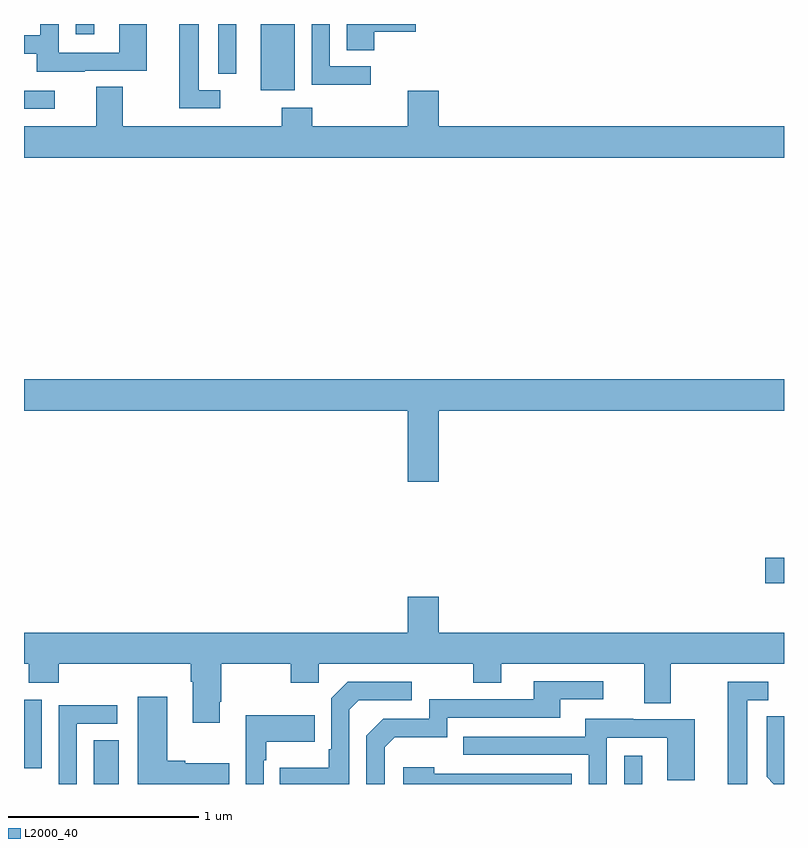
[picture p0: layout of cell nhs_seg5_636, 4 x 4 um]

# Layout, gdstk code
import gdstk
lib = gdstk.Library(unit=1e-6, precision=1e-09)
def R(c, l, rs):  # rectangles x0, y0, x1, y1
    for r in rs: c.add(gdstk.rectangle(r[:2], r[2:], *l))
def P(c, l, *ps):  # polygons
    for p in ps: c.add(gdstk.Polygon(p, *l))
L2000_40 = (2000, 40)

nhs_seg5_636 = lib.new_cell('nhs_seg5_636')
R(nhs_seg5_636, L2000_40, [(151.367,850.799,151.498,851.03), (154.158,850.799,154.255,850.948), (151,850.881,151.093,851.242), (154.902,851.855,155,851.99), (151,854.352,151.162,854.448), (152.246,854.45,152.425,854.799), (151.272,854.745,151.369,854.799)])
P(nhs_seg5_636, L2000_40, [(152.824,854.577),(152.61,854.577),(152.61,854.799),(152.514,854.799),(152.514,854.479),(152.824,854.479)],
  [(152.118,854.69),(152.117,854.69),(152.117,854.799),(152.022,854.799),(152.022,854.536),(152.118,854.536)],
  [(151.321,854.553),(151.645,854.553),(151.645,854.799),(151.5,854.799),(151.5,854.649),(151.182,854.649),(151.182,854.799),(151.086,854.799),(151.086,854.739),(151,854.739),(151,854.643),(151.067,854.643),(151.067,854.549),(151.321,854.549)],
  [(152.032,854.451),(151.921,854.451),(151.921,854.799),(151.817,854.799),(151.817,854.355),(152.032,854.355)],
  [(152.843,854.758),(153.061,854.758),(153.061,854.799),(152.699,854.799),(152.699,854.662),(152.843,854.662)],
  [(153.02,854.449),(153.02,854.26),(152.516,854.26),(152.516,854.359),(152.356,854.359),(152.356,854.26),(151.519,854.26),(151.519,854.468),(151.379,854.468),(151.379,854.26),(151,854.26),(151,854.096),(155,854.096),(155,854.26),(153.184,854.26),(153.184,854.449)],
  [(153.184,852.764),(155,852.764),(155,852.928),(151,852.928),(151,852.764),(153.02,852.764),(153.02,852.39),(153.184,852.39)],
  [(152.029,851.233),(152.037,851.233),(152.037,851.432),(152.404,851.432),(152.404,851.333),(152.55,851.333),(152.55,851.432),(153.364,851.432),(153.364,851.333),(153.511,851.333),(153.511,851.432),(154.265,851.432),(154.265,851.224),(154.405,851.224),(154.405,851.432),(155,851.432),(155,851.596),(153.184,851.596),(153.184,851.785),(153.02,851.785),(153.02,851.596),(151,851.596),(151,851.432),(151.024,851.432),(151.024,851.333),(151.184,851.333),(151.184,851.432),(151.877,851.432),(151.877,851.336),(151.889,851.336),(151.889,851.121),(152.029,851.121)],
  [(152.898,850.992),(152.951,851.045),(153.228,851.045),(153.228,851.148),(153.823,851.148),(153.823,851.244),(154.048,851.244),(154.048,851.34),(153.683,851.34),(153.683,851.244),(153.132,851.244),(153.132,851.142),(152.892,851.142),(152.802,851.052),(152.802,850.799),(152.898,850.799)],
  [(152.712,851.19),(152.763,851.241),(153.04,851.241),(153.04,851.337),(152.703,851.337),(152.616,851.25),(152.616,850.981),(152.604,850.981),(152.604,850.885),(152.347,850.885),(152.347,850.799),(152.712,850.799)],
  [(154.807,851.241),(154.918,851.241),(154.918,851.337),(154.703,851.337),(154.703,850.799),(154.807,850.799)],
  [(152.08,850.909),(151.849,850.909),(151.849,850.922),(151.753,850.922),(151.753,851.257),(151.598,851.257),(151.598,850.799),(152.08,850.799)],
  [(151.278,851.115),(151.492,851.115),(151.492,851.214),(151.182,851.214),(151.182,850.799),(151.278,850.799)],
  [(152.262,850.925),(152.275,850.925),(152.275,851.021),(152.531,851.021),(152.531,851.161),(152.166,851.161),(152.166,850.799),(152.262,850.799)],
  [(155,851.156),(154.908,851.156),(154.908,850.838),(154.947,850.799),(155,850.799)],
  [(154.068,851.043),(154.386,851.043),(154.386,850.819),(154.531,850.819),(154.531,851.139),(154.207,851.139),(154.207,851.143),(153.953,851.143),(153.953,851.049),(153.313,851.049),(153.313,850.953),(153.972,850.953),(153.972,850.799),(154.068,850.799)],
  [(153.882,850.854),(153.158,850.854),(153.158,850.888),(152.997,850.888),(152.997,850.799),(153.882,850.799)])

lib.write_gds('nhs_seg5_636.gds')
